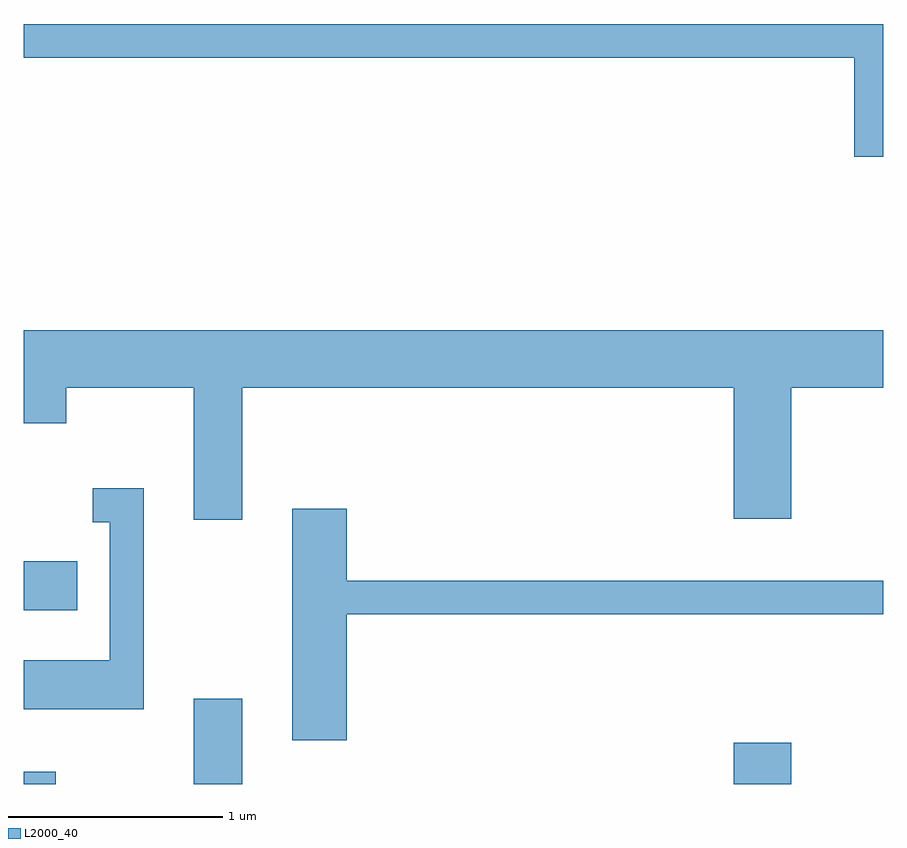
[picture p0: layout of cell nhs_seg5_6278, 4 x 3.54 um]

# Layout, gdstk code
import gdstk
lib = gdstk.Library(unit=1e-6, precision=1e-09)
def R(c, l, rs):  # rectangles x0, y0, x1, y1
    for r in rs: c.add(gdstk.rectangle(r[:2], r[2:], *l))
def P(c, l, *ps):  # polygons
    for p in ps: c.add(gdstk.Polygon(p, *l))
L2000_40 = (2000, 40)

nhs_seg5_6278 = lib.new_cell('nhs_seg5_6278')
R(nhs_seg5_6278, L2000_40, [(371.611,1446.072,371.759,1446.129), (372.401,1446.072,372.629,1446.469), (374.916,1446.072,375.184,1446.264), (371.611,1446.881,371.859,1447.109)])
P(nhs_seg5_6278, L2000_40, [(375.611,1449.609),(371.611,1449.609),(371.611,1449.451),(375.476,1449.451),(375.476,1448.991),(375.611,1448.991)],
  [(372.629,1447.916),(374.916,1447.916),(374.916,1447.306),(375.184,1447.306),(375.184,1447.916),(375.611,1447.916),(375.611,1448.184),(371.611,1448.184),(371.611,1447.751),(371.809,1447.751),(371.809,1447.916),(372.401,1447.916),(372.401,1447.301),(372.629,1447.301)],
  [(372.169,1447.449),(371.933,1447.449),(371.933,1447.291),(372.011,1447.291),(372.011,1446.649),(371.611,1446.649),(371.611,1446.421),(372.169,1446.421)],
  [(373.114,1446.861),(375.611,1446.861),(375.611,1447.019),(373.114,1447.019),(373.114,1447.354),(372.861,1447.354),(372.861,1446.276),(373.114,1446.276)])

lib.write_gds('nhs_seg5_6278.gds')
